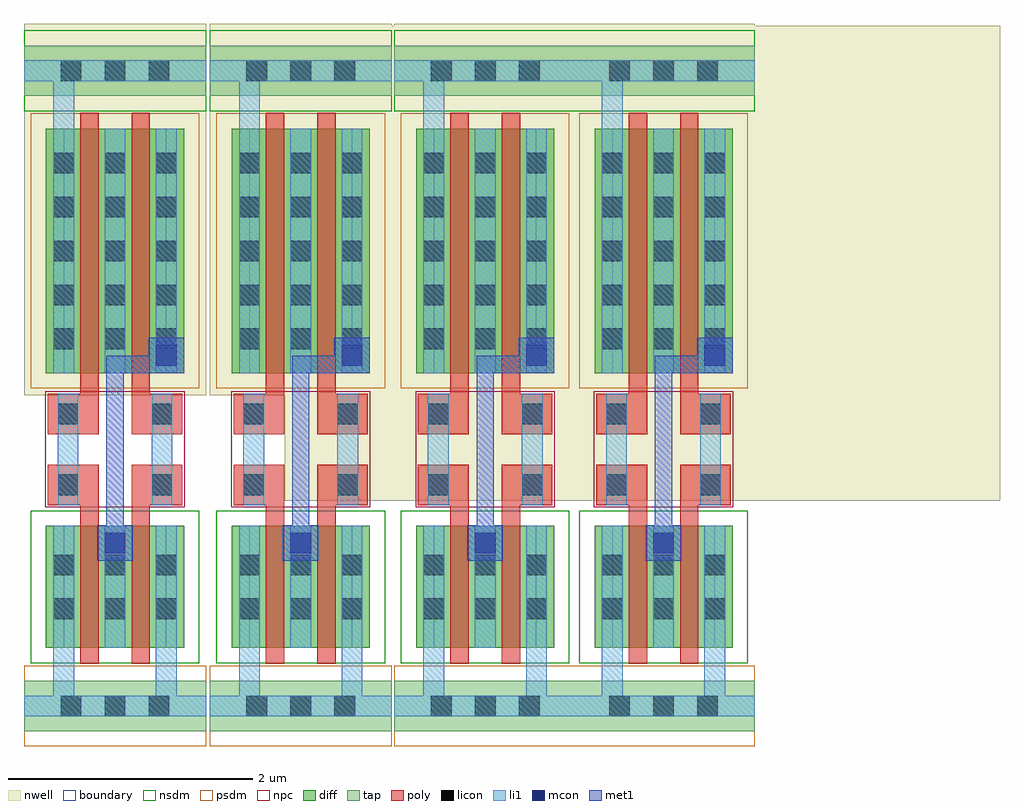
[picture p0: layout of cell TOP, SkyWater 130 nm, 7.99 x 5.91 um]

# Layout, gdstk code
from math import pi, radians
import gdstk
lib = gdstk.Library(unit=1e-6, precision=1e-09)
def R(c, l, rs):  # rectangles x0, y0, x1, y1
    for r in rs: c.add(gdstk.rectangle(r[:2], r[2:], *l))
def A(c, l, x, y, w, h, nx, ny, dx, dy):  # array of equal rectangles
    R(c, l, [(x+i*dx, y+j*dy, x+i*dx+w, y+j*dy+h) for i in range(nx) for j in range(ny)])
nwell = (64, 20)
diff = (65, 20)
tap = (65, 44)
poly = (66, 20)
licon = (66, 44)
li1 = (67, 20)
mcon = (67, 44)
met1 = (68, 20)
nsdm = (93, 44)
psdm = (94, 20)
npc = (95, 20)
boundary = (235, 4)

mosfet_1 = lib.new_cell('MOSFET$1')
R(mosfet_1, nwell, [(-0.325,-0.18,0.745,2.18)])
R(mosfet_1, diff, [(-0.145,0,0.565,2)])
R(mosfet_1, poly, [(0.135,-0.13,0.285,2.13)])
A(mosfet_1, licon, -0.085, 0.195, 0.17, 0.17, 1, 5, 0, 0.36)
A(mosfet_1, licon, 0.335, 0.195, 0.17, 0.17, 1, 5, 0, 0.36)
R(mosfet_1, li1, [(-0.085,0,0.085,2), (0.335,0,0.505,2)])
R(mosfet_1, psdm, [(-0.27,-0.125,0.69,2.125)])
R(mosfet_1, boundary, [(0,0,0.42,2)])

contact_3 = lib.new_cell('Contact$3')
R(contact_3, nwell, [(-0.385,-0.745,0.385,0.745)])
R(contact_3, tap, [(-0.205,-0.565,0.205,0.565)])
A(contact_3, licon, -0.085, -0.445, 0.17, 0.17, 1, 3, 0, 0.36)
R(contact_3, li1, [(-0.085,-0.525,0.085,0.525)])
R(contact_3, nsdm, [(-0.33,-0.69,0.33,0.69)])

contact_2 = lib.new_cell('Contact$2')
R(contact_2, li1, [(-0.085,-0.085,0.085,0.085)])
R(contact_2, mcon, [(-0.085,-0.085,0.085,0.085)])
R(contact_2, met1, [(-0.145,-0.145,0.145,0.145)])

contact_1 = lib.new_cell('Contact$1')
R(contact_1, tap, [(-0.205,-0.565,0.205,0.565)])
A(contact_1, licon, -0.085, -0.445, 0.17, 0.17, 1, 3, 0, 0.36)
R(contact_1, li1, [(-0.085,-0.525,0.085,0.525)])
R(contact_1, psdm, [(-0.33,-0.69,0.33,0.69)])

mosfet = lib.new_cell('MOSFET')
R(mosfet, diff, [(-0.145,0,0.565,1)])
R(mosfet, poly, [(0.135,-0.13,0.285,1.13)])
R(mosfet, licon, [(-0.085,0.235,0.085,0.405), (0.335,0.235,0.505,0.405), (-0.085,0.595,0.085,0.765), (0.335,0.595,0.505,0.765)])
R(mosfet, li1, [(-0.085,0,0.085,1), (0.335,0,0.505,1)])
R(mosfet, nsdm, [(-0.27,-0.125,0.69,1.125)])
R(mosfet, boundary, [(0,0,0.42,1)])

contact = lib.new_cell('Contact')
R(contact, poly, [(-0.165,-0.165,0.165,0.165)])
R(contact, licon, [(-0.085,-0.085,0.085,0.085)])
R(contact, li1, [(-0.085,-0.165,0.085,0.165)])
R(contact, npc, [(-0.185,-0.185,0.185,0.185)])

nor = lib.new_cell('NOR')
R(nor, tap, [(0,0.125,1.49,0.535), (1.52,0.125,3.01,0.535), (3.03,0.125,4.52,0.535), (4.49,0.125,5.98,0.535), (0,5.325,1.49,5.735), (1.52,5.325,3.01,5.735), (3.03,5.325,4.52,5.735), (4.49,5.325,5.98,5.735)])
R(nor, poly, [(0.46,1.935,0.61,2.305), (0.88,1.935,1.03,2.305), (1.98,1.935,2.13,2.305), (2.4,1.935,2.55,2.305), (3.49,1.935,3.64,2.305), (3.91,1.935,4.06,2.305), (4.95,1.935,5.1,2.305), (5.37,1.935,5.52,2.305), (0.46,2.555,0.61,2.925), (0.88,2.555,1.03,2.925), (1.98,2.555,2.13,2.925), (2.4,2.555,2.55,2.925), (3.49,2.555,3.64,2.925), (3.91,2.555,4.06,2.925), (4.95,2.555,5.1,2.925), (5.37,2.555,5.52,2.925)])
R(nor, nsdm, [(0,5.2,1.49,5.86), (1.52,5.2,3.01,5.86), (3.03,5.2,4.52,5.86), (4.49,5.2,5.98,5.86)])
R(nor, psdm, [(0,0,1.49,0.66), (1.52,0,3.01,0.66), (3.03,0,4.52,0.66), (4.49,0,5.98,0.66)])
R(nor, npc, [(0.175,1.955,1.315,2.905), (1.695,1.955,2.835,2.905), (3.205,1.955,4.345,2.905), (4.665,1.955,5.805,2.905)])
nor.add(gdstk.FlexPath([(0,0.33),(1.49,0.33)], 0.17, ends="flush", simple_path=True, layer=67, datatype=20))  # li1
nor.add(gdstk.FlexPath([(1.52,0.33),(3.01,0.33)], 0.17, ends="flush", simple_path=True, layer=67, datatype=20))  # li1
nor.add(gdstk.FlexPath([(3.03,0.33),(4.52,0.33)], 0.17, ends="flush", simple_path=True, layer=67, datatype=20))  # li1
nor.add(gdstk.FlexPath([(4.49,0.33),(5.98,0.33)], 0.17, ends="flush", simple_path=True, layer=67, datatype=20))  # li1
nor.add(gdstk.FlexPath([(0,5.53),(1.49,5.53)], 0.17, ends="flush", simple_path=True, layer=67, datatype=20))  # li1
nor.add(gdstk.FlexPath([(1.52,5.53),(3.01,5.53)], 0.17, ends="flush", simple_path=True, layer=67, datatype=20))  # li1
nor.add(gdstk.FlexPath([(3.03,5.53),(4.52,5.53)], 0.17, ends="flush", simple_path=True, layer=67, datatype=20))  # li1
nor.add(gdstk.FlexPath([(4.49,5.53),(5.98,5.53)], 0.17, ends="flush", simple_path=True, layer=67, datatype=20))  # li1
nor.add(gdstk.FlexPath([(0.36,2.555),(0.36,2.305)], 0.17, ends="flush", simple_path=True, layer=67, datatype=20))  # li1
nor.add(gdstk.FlexPath([(1.13,2.555),(1.13,2.305)], 0.17, ends="flush", simple_path=True, layer=67, datatype=20))  # li1
nor.add(gdstk.FlexPath([(1.88,2.555),(1.88,2.305)], 0.17, ends="flush", simple_path=True, layer=67, datatype=20))  # li1
nor.add(gdstk.FlexPath([(2.65,2.555),(2.65,2.305)], 0.17, ends="flush", simple_path=True, layer=67, datatype=20))  # li1
nor.add(gdstk.FlexPath([(3.39,2.555),(3.39,2.305)], 0.17, ends="flush", simple_path=True, layer=67, datatype=20))  # li1
nor.add(gdstk.FlexPath([(4.16,2.555),(4.16,2.305)], 0.17, ends="flush", simple_path=True, layer=67, datatype=20))  # li1
nor.add(gdstk.FlexPath([(4.85,2.555),(4.85,2.305)], 0.17, ends="flush", simple_path=True, layer=67, datatype=20))  # li1
nor.add(gdstk.FlexPath([(5.62,2.555),(5.62,2.305)], 0.17, ends="flush", simple_path=True, layer=67, datatype=20))  # li1
nor.add(gdstk.FlexPath([(0.325,4.93),(0.325,5.475)], 0.17, ends="flush", simple_path=True, layer=67, datatype=20))  # li1
nor.add(gdstk.FlexPath([(1.845,4.93),(1.845,5.475)], 0.17, ends="flush", simple_path=True, layer=67, datatype=20))  # li1
nor.add(gdstk.FlexPath([(3.355,4.93),(3.355,5.475)], 0.17, ends="flush", simple_path=True, layer=67, datatype=20))  # li1
nor.add(gdstk.FlexPath([(4.815,4.93),(4.815,5.475)], 0.17, ends="flush", simple_path=True, layer=67, datatype=20))  # li1
nor.add(gdstk.FlexPath([(0.325,0.99),(0.325,0.335)], 0.17, ends="flush", simple_path=True, layer=67, datatype=20))  # li1
nor.add(gdstk.FlexPath([(1.845,0.99),(1.845,0.335)], 0.17, ends="flush", simple_path=True, layer=67, datatype=20))  # li1
nor.add(gdstk.FlexPath([(3.355,0.99),(3.355,0.335)], 0.17, ends="flush", simple_path=True, layer=67, datatype=20))  # li1
nor.add(gdstk.FlexPath([(4.815,0.99),(4.815,0.335)], 0.17, ends="flush", simple_path=True, layer=67, datatype=20))  # li1
nor.add(gdstk.FlexPath([(1.165,0.965),(1.165,0.345)], 0.17, ends="flush", simple_path=True, layer=67, datatype=20))  # li1
nor.add(gdstk.FlexPath([(2.685,0.965),(2.685,0.345)], 0.17, ends="flush", simple_path=True, layer=67, datatype=20))  # li1
nor.add(gdstk.FlexPath([(4.195,0.965),(4.195,0.345)], 0.17, ends="flush", simple_path=True, layer=67, datatype=20))  # li1
nor.add(gdstk.FlexPath([(5.655,0.965),(5.655,0.345)], 0.17, ends="flush", simple_path=True, layer=67, datatype=20))  # li1
nor.add(gdstk.FlexPath([(0.745,1.81),(0.745,3.125),(1.02,3.125)], 0.14, ends="flush", simple_path=True, layer=68, datatype=20))  # met1
nor.add(gdstk.FlexPath([(2.265,1.81),(2.265,3.125),(2.54,3.125)], 0.14, ends="flush", simple_path=True, layer=68, datatype=20))  # met1
nor.add(gdstk.FlexPath([(3.775,1.81),(3.775,3.125),(4.05,3.125)], 0.14, ends="flush", simple_path=True, layer=68, datatype=20))  # met1
nor.add(gdstk.FlexPath([(5.235,1.81),(5.235,3.125),(5.51,3.125)], 0.14, ends="flush", simple_path=True, layer=68, datatype=20))  # met1
nor.add(gdstk.Reference(mosfet_1, (0.325,3.055)))
nor.add(gdstk.Reference(mosfet_1, (0.745,3.055)))
nor.add(gdstk.Reference(mosfet_1, (1.845,3.055)))
nor.add(gdstk.Reference(mosfet_1, (2.265,3.055)))
nor.add(gdstk.Reference(mosfet_1, (3.355,3.055)))
nor.add(gdstk.Reference(mosfet_1, (3.775,3.055)))
nor.add(gdstk.Reference(mosfet_1, (4.815,3.055)))
nor.add(gdstk.Reference(mosfet_1, (5.235,3.055)))
nor.add(gdstk.Reference(contact_3, (0.745,5.53), rotation=pi/2))
nor.add(gdstk.Reference(contact_3, (2.265,5.53), rotation=pi/2))
nor.add(gdstk.Reference(contact_3, (3.775,5.53), rotation=pi/2))
nor.add(gdstk.Reference(contact_3, (5.235,5.53), rotation=pi/2))
nor.add(gdstk.Reference(contact_2, (0.745,1.665)))
nor.add(gdstk.Reference(contact_2, (2.265,1.665)))
nor.add(gdstk.Reference(contact_2, (3.775,1.665)))
nor.add(gdstk.Reference(contact_2, (5.235,1.665)))
nor.add(gdstk.Reference(contact_2, (1.165,3.2)))
nor.add(gdstk.Reference(contact_2, (2.685,3.2)))
nor.add(gdstk.Reference(contact_2, (4.195,3.2)))
nor.add(gdstk.Reference(contact_2, (5.655,3.2)))
nor.add(gdstk.Reference(contact_1, (0.745,0.33), rotation=pi/2))
nor.add(gdstk.Reference(contact_1, (2.265,0.33), rotation=pi/2))
nor.add(gdstk.Reference(contact_1, (3.775,0.33), rotation=pi/2))
nor.add(gdstk.Reference(contact_1, (5.235,0.33), rotation=pi/2))
nor.add(gdstk.Reference(mosfet, (0.325,0.805)))
nor.add(gdstk.Reference(mosfet, (0.745,0.805)))
nor.add(gdstk.Reference(mosfet, (1.845,0.805)))
nor.add(gdstk.Reference(mosfet, (2.265,0.805)))
nor.add(gdstk.Reference(mosfet, (3.355,0.805)))
nor.add(gdstk.Reference(mosfet, (3.775,0.805)))
nor.add(gdstk.Reference(mosfet, (4.815,0.805)))
nor.add(gdstk.Reference(mosfet, (5.235,0.805)))
nor.add(gdstk.Reference(contact, (0.36,2.72), rotation=pi))
nor.add(gdstk.Reference(contact, (1.13,2.72), rotation=pi))
nor.add(gdstk.Reference(contact, (1.88,2.72), rotation=pi))
nor.add(gdstk.Reference(contact, (2.65,2.72), rotation=pi))
nor.add(gdstk.Reference(contact, (3.39,2.72), rotation=pi))
nor.add(gdstk.Reference(contact, (4.16,2.72), rotation=pi))
nor.add(gdstk.Reference(contact, (4.85,2.72), rotation=pi))
nor.add(gdstk.Reference(contact, (5.62,2.72), rotation=pi))
nor.add(gdstk.Reference(contact, (0.36,2.14), rotation=pi, x_reflection=True))
nor.add(gdstk.Reference(contact, (1.13,2.14), rotation=pi, x_reflection=True))
nor.add(gdstk.Reference(contact, (1.88,2.14), rotation=pi, x_reflection=True))
nor.add(gdstk.Reference(contact, (2.65,2.14), rotation=pi, x_reflection=True))
nor.add(gdstk.Reference(contact, (3.39,2.14), rotation=pi, x_reflection=True))
nor.add(gdstk.Reference(contact, (4.16,2.14), rotation=pi, x_reflection=True))
nor.add(gdstk.Reference(contact, (4.85,2.14), rotation=pi, x_reflection=True))
nor.add(gdstk.Reference(contact, (5.62,2.14), rotation=pi, x_reflection=True))
nor.add(gdstk.Label('VPWR', (0.72,5.5), layer=67, texttype=5))
nor.add(gdstk.Label('VPWR', (2.24,5.5), layer=67, texttype=5))
nor.add(gdstk.Label('VPWR', (3.75,5.5), layer=67, texttype=5))
nor.add(gdstk.Label('VPWR', (5.21,5.5), layer=67, texttype=5))
nor.add(gdstk.Label('B', (1.105,2.125), layer=67, texttype=5))
nor.add(gdstk.Label('B', (2.625,2.125), layer=67, texttype=5))
nor.add(gdstk.Label('B', (4.135,2.125), layer=67, texttype=5))
nor.add(gdstk.Label('B', (5.595,2.125), layer=67, texttype=5))
nor.add(gdstk.Label('A', (0.32,2.125), layer=67, texttype=5))
nor.add(gdstk.Label('A', (1.84,2.125), layer=67, texttype=5))
nor.add(gdstk.Label('A', (3.35,2.125), layer=67, texttype=5))
nor.add(gdstk.Label('A', (4.81,2.125), layer=67, texttype=5))
nor.add(gdstk.Label('VGND', (0.66,0.275), layer=67, texttype=5))
nor.add(gdstk.Label('VGND', (2.18,0.275), layer=67, texttype=5))
nor.add(gdstk.Label('VGND', (3.69,0.275), layer=67, texttype=5))
nor.add(gdstk.Label('VGND', (5.15,0.275), layer=67, texttype=5))
nor.add(gdstk.Label('Y', (0.7,2.125), layer=68, texttype=5))
nor.add(gdstk.Label('Y', (2.22,2.125), layer=68, texttype=5))
nor.add(gdstk.Label('Y', (3.73,2.125), layer=68, texttype=5))
nor.add(gdstk.Label('Y', (5.19,2.125), layer=68, texttype=5))

top = lib.new_cell('TOP')
R(top, nwell, [(1.185,1.966,7.041,5.856)])
top.add(gdstk.Reference(nor, (-0.948,-0.042)))

lib.write_gds('TOP.gds')
